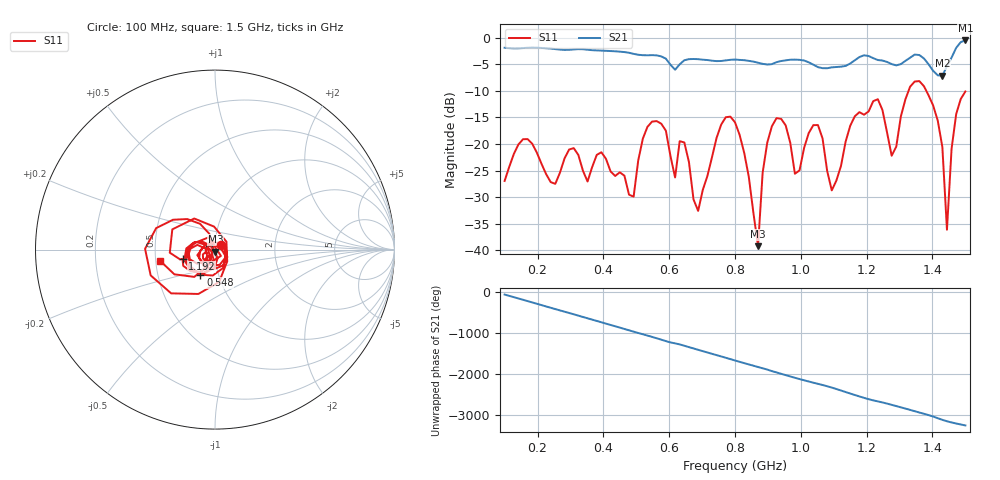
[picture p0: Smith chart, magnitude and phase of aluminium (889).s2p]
! NanoVNA-App
! Date: 2025-09-25 15:02:12
! Start: 100MHz Stop: 1,5GHz Points: 101
! S-Parameter data: F S11 S21 S12 S22
# Hz S RI R 50
!  Frequency  S11_Real  S11_Imag  S21_Real  S21_Imag  S12_Real  S12_Imag  S22_Real  S22_Imag
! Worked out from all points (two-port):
!   101 points, 100 MHz to 1.5 GHz, reference 50 ohm
!   highest |S21| = -0.55 dB at 1.5 GHz (marker M1); lowest = -7.2 dB at 1.43 GHz (marker M2)
!   |S21| within 3 dB of the highest: start of sweep to 576.2 MHz; 1.46 GHz to end of sweep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
!   lowest |S11| = -39.2 dB at 870 MHz (marker M3), VSWR 1.02, Z = 50.2 - j1.08 ohm
!   |S11| at or under -10 dB: start of sweep to 1.327 GHz; 1.381 GHz to end of sweep
!   S12 and S22 are empty: the file has one direction only
!   S11 on the Smith chart (normalised r, x): 100 MHz: 1.07, +0.06; 548 MHz: 0.82, -0.24; 1.192 GHz: 0.69, -0.07; 1.5 GHz: 0.53, -0.07
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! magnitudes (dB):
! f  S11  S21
! 100 MHz  -26.9  -1.9
! 156 MHz  -19.1  -2.0
! 338 MHz  -25.0  -2.2
! 492 MHz  -29.9  -3.1
! 548 MHz  -15.8  -3.3
! 576 MHz  -16.2  -3.5
! 646 MHz  -19.7  -4.3
! 688 MHz  -32.6  -4.1
! 800 MHz  -15.9  -4.1
! 870 MHz  -39.2  -4.7
! 912 MHz  -16.7  -5.0
! 982 MHz  -25.6  -4.2
! 1.038 GHz  -16.5  -5.1
! 1.094 GHz  -28.7  -5.6
! 1.192 GHz  -14.5  -3.3
! 1.234 GHz  -11.6  -4.2
! 1.276 GHz  -22.2  -5.0
! 1.346 GHz  -8.3  -3.2
! 1.43 GHz  -20.6  -7.2
! 1.444 GHz  -36.1  -5.4
! 1.472 GHz  -14.4  -1.9
! 1.5 GHz  -10.1  -0.6
